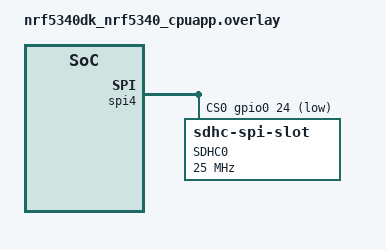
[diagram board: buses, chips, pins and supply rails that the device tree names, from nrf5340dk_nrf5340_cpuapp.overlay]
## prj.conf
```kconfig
CONFIG_DISK_ACCESS=y
CONFIG_LOG=y
CONFIG_FILE_SYSTEM=y
CONFIG_FAT_FILESYSTEM_ELM=y
CONFIG_PRINTK=y
CONFIG_MAIN_STACK_SIZE=2048

CONFIG_DISK_DRIVER_SDMMC=y
CONFIG_SPI=y

# CONFIG_MAIN_STACK_SIZE=2048
CONFIG_SPI_NRFX_RAM_BUFFER_SIZE=512
CONFIG_STDOUT_CONSOLE=y
```

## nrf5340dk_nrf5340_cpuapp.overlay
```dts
&spi4 {
	status = "okay";
	cs-gpios = <&gpio0 24 GPIO_ACTIVE_LOW>; //<&gpio1 4 GPIO_ACTIVE_LOW>;
	sdhc0: sdhc@0 {
		compatible = "zephyr,sdhc-spi-slot";
		reg = <0>;
		status = "okay";
		mmc{
			compatible = "zephyr,sdmmc-disk";
			status = "okay";
		};
		label = "SDHC0";
		spi-max-frequency = <25000000>;
	};
};

// &spi2 {
//     status = "okay";
//     compatible = "nordic,nrf-spim";
//     // sck-pin = < 47 >;
//     // miso-pin = < 46 >;
//     // mosi-pin = < 45 >;
//     cs-gpios = < &gpio0 17 0x0 >;
//     sdhc0: sdhc@0 {
//         compatible = "zephyr,mmc-spi-slot";
//         reg = < 0x0 >;
//         status = "okay";
//         label = "SD";
//         spi-max-frequency = < 0x16e3600 >;
//     };
// };
```

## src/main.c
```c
/*
 * Copyright (c) 2019 Tavish Naruka <tavishnaruka@gmail.com>
 *
 * SPDX-License-Identifier: Apache-2.0
 */

/* Sample which uses the filesystem API and SDHC driver */

#include <zephyr/zephyr.h>
#include <zephyr/device.h>
#include <zephyr/storage/disk_access.h>
#include <zephyr/logging/log.h>
#include <zephyr/fs/fs.h>
#include <ff.h>

LOG_MODULE_REGISTER(main);

static int lsdir(const char *path);

static FATFS fat_fs;
/* mounting info */
static struct fs_mount_t mp = {
	.type = FS_FATFS,
	.fs_data = &fat_fs,
};

/*
*  Note the fatfs library is able to mount only strings inside _VOLUME_STRS
*  in ffconf.h
*/
static const char *disk_mount_pt = "/SD:";

void main(void)
{
	/* raw disk i/o */
	do {
		static const char *disk_pdrv = "SD";
		uint64_t memory_size_mb;
		uint32_t block_count;
		uint32_t block_size;

		if (disk_access_init(disk_pdrv) != 0) {
			LOG_ERR("Storage init ERROR!");
			break;
		}

		if (disk_access_ioctl(disk_pdrv,
				DISK_IOCTL_GET_SECTOR_COUNT, &block_count)) {
			LOG_ERR("Unable to get sector count");
			break;
		}
		LOG_INF("Block count %u", block_count);

		if (disk_access_ioctl(disk_pdrv,
				DISK_IOCTL_GET_SECTOR_SIZE, &block_size)) {
			LOG_ERR("Unable to get sector size");
			break;
		}
		printk("Sector size %u\n", block_size);

		memory_size_mb = (uint64_t)block_count * block_size;
		printk("Memory Size(MB) %u\n", (uint32_t)(memory_size_mb >> 20));
	} while (0);

	mp.mnt_point = disk_mount_pt;

	int res = fs_mount(&mp);

	if (res == FR_OK) {
		printk("Disk mounted.\n");
		lsdir(disk_mount_pt);
	} else {
		printk("Error mounting disk.\n");
	}

	printk("Attempting to write to file...\n");
	{
		static const char *hello_str = "Hello World!\n";
		// const char *file_path = "/SD:hello.txt";
		char filename[30];	
		int write_index = 3;

		struct fs_file_t filep;
		size_t bytes_written;

		fs_file_t_init(&filep);

		sprintf(&filename, "/SD:/%d_01.txt", write_index);
		fs_unlink(filename);

		res = fs_open(&filep, filename, FS_O_CREATE | FS_O_WRITE | FS_O_APPEND);
		if (res) {
			printk("Error opening file %s [%d]\n", filename, res);
			return;
		}
		else
		{
			printk("File %s opened successfully\n", filename);
		}

		uint8_t arr[10] = {1,2,3,4,5,6,7,8,9,10};

		// res = fs_write(&filep, hello_str, strlen(hello_str));
		res = fs_write(&filep, &arr, sizeof(arr));
		if (res < 0) {
			printk("Error writing file [%d]\n", res);
		} else {
			printk("%d bytes written to file\n", res);
		}

		res = fs_close(&filep);
		if (res < 0) {
			printk("Error closing file [%d]\n", res);
		}
	}

	// unmount the disk
	// fs_unmount(&mp);

	while (1) {
		k_sleep(K_MSEC(1000));
	}
}

static int lsdir(const char *path)
{
	int res;
	struct fs_dir_t dirp;
	static struct fs_dirent entry;

	fs_dir_t_init(&dirp);

	/* Verify fs_opendir() */
	res = fs_opendir(&dirp, path);
	if (res) {
		printk("Error opening dir %s [%d]\n", path, res);
		return res;
	}

	printk("\nListing dir %s ...\n", path);
	for (;;) {
		/* Verify fs_readdir() */
		res = fs_readdir(&dirp, &entry);

		/* entry.name[0] == 0 means end-of-dir */
		if (res || entry.name[0] == 0) {
			break;
		}

		if (entry.type == FS_DIR_ENTRY_DIR) {
			printk("[DIR ] %s\n", entry.name);
		} else {
			printk("[FILE] %s (size = %zu)\n",
				entry.name, entry.size);
		}
	}

	/* Verify fs_closedir() */
	fs_closedir(&dirp);

	return res;
}
```
